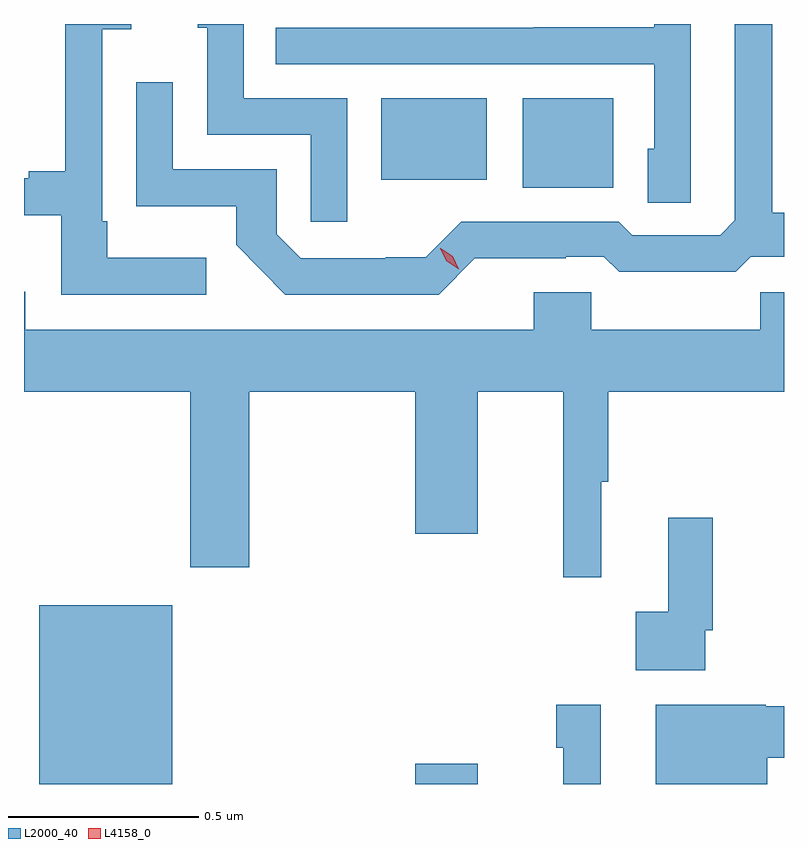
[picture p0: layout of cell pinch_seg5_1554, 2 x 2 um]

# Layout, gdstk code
import gdstk
lib = gdstk.Library(unit=1e-6, precision=1e-09)
def R(c, l, rs):  # rectangles x0, y0, x1, y1
    for r in rs: c.add(gdstk.rectangle(r[:2], r[2:], *l))
def P(c, l, *ps):  # polygons
    for p in ps: c.add(gdstk.Polygon(p, *l))
L2000_40 = (2000, 40)
L4158_0 = (4158, 0)

pinch_seg5_1554 = lib.new_cell('pinch_seg5_1554')
R(pinch_seg5_1554, L2000_40, [(199.982,843.74,200.332,844.21), (200.972,843.74,201.136,843.793), (201.254,845.309,201.493,845.545), (200.882,845.33,201.16,845.545)])
P(pinch_seg5_1554, L2000_40, [(201.696,845.74),(201.6,845.74),(201.6,845.731),(201.283,845.731),(201.283,845.73),(200.605,845.73),(200.605,845.634),(201.6,845.634),(201.6,845.412),(201.584,845.412),(201.584,845.269),(201.696,845.269)],
  [(200.793,845.544),(200.52,845.544),(200.52,845.74),(200.399,845.74),(200.399,845.73),(200.424,845.73),(200.424,845.448),(200.697,845.448),(200.697,845.22),(200.793,845.22)],
  [(200.422,845.125),(200.161,845.125),(200.161,845.221),(200.148,845.221),(200.148,845.726),(200.224,845.726),(200.224,845.74),(200.051,845.74),(200.051,845.353),(199.955,845.353),(199.955,845.334),(199.942,845.334),(199.942,845.237),(200.04,845.237),(200.04,845.028),(200.422,845.028)],
  [(201.128,845.123),(201.368,845.123),(201.368,845.127),(201.468,845.127),(201.508,845.088),(201.815,845.088),(201.855,845.127),(201.942,845.127),(201.942,845.243),(201.911,845.243),(201.911,845.74),(201.813,845.74),(201.813,845.223),(201.774,845.184),(201.543,845.184),(201.507,845.22),(201.093,845.22),(200.999,845.126),(200.894,845.126),(200.894,845.124),(200.67,845.124),(200.607,845.187),(200.607,845.358),(200.334,845.358),(200.334,845.587),(200.238,845.587),(200.238,845.261),(200.5,845.261),(200.5,845.159),(200.63,845.028),(201.033,845.028)],
  [(201.461,844.536),(201.479,844.536),(201.479,844.772),(201.942,844.772),(201.942,845.034),(201.88,845.034),(201.88,844.936),(201.435,844.936),(201.435,845.034),(201.284,845.034),(201.284,844.936),(199.945,844.936),(199.945,845.035),(199.942,845.035),(199.942,844.772),(200.38,844.772),(200.38,844.311),(200.535,844.311),(200.535,844.772),(200.972,844.772),(200.972,844.398),(201.136,844.398),(201.136,844.772),(201.361,844.772),(201.361,844.284),(201.461,844.284)],
  [(201.735,844.144),(201.755,844.144),(201.755,844.441),(201.638,844.441),(201.638,844.193),(201.552,844.193),(201.552,844.04),(201.735,844.04)],
  [(201.46,843.949),(201.343,843.949),(201.343,843.836),(201.361,843.836),(201.361,843.74),(201.46,843.74)],
  [(201.898,843.809),(201.942,843.809),(201.942,843.944),(201.894,843.944),(201.894,843.949),(201.605,843.949),(201.605,843.74),(201.898,843.74)])
P(pinch_seg5_1554, L4158_0, [(201.086,845.095),(201.055,845.116),(201.038,845.149),(201.038,845.15),(201.039,845.15),(201.07,845.129),(201.086,845.095),(201.086,845.095)])

lib.write_gds('pinch_seg5_1554.gds')
